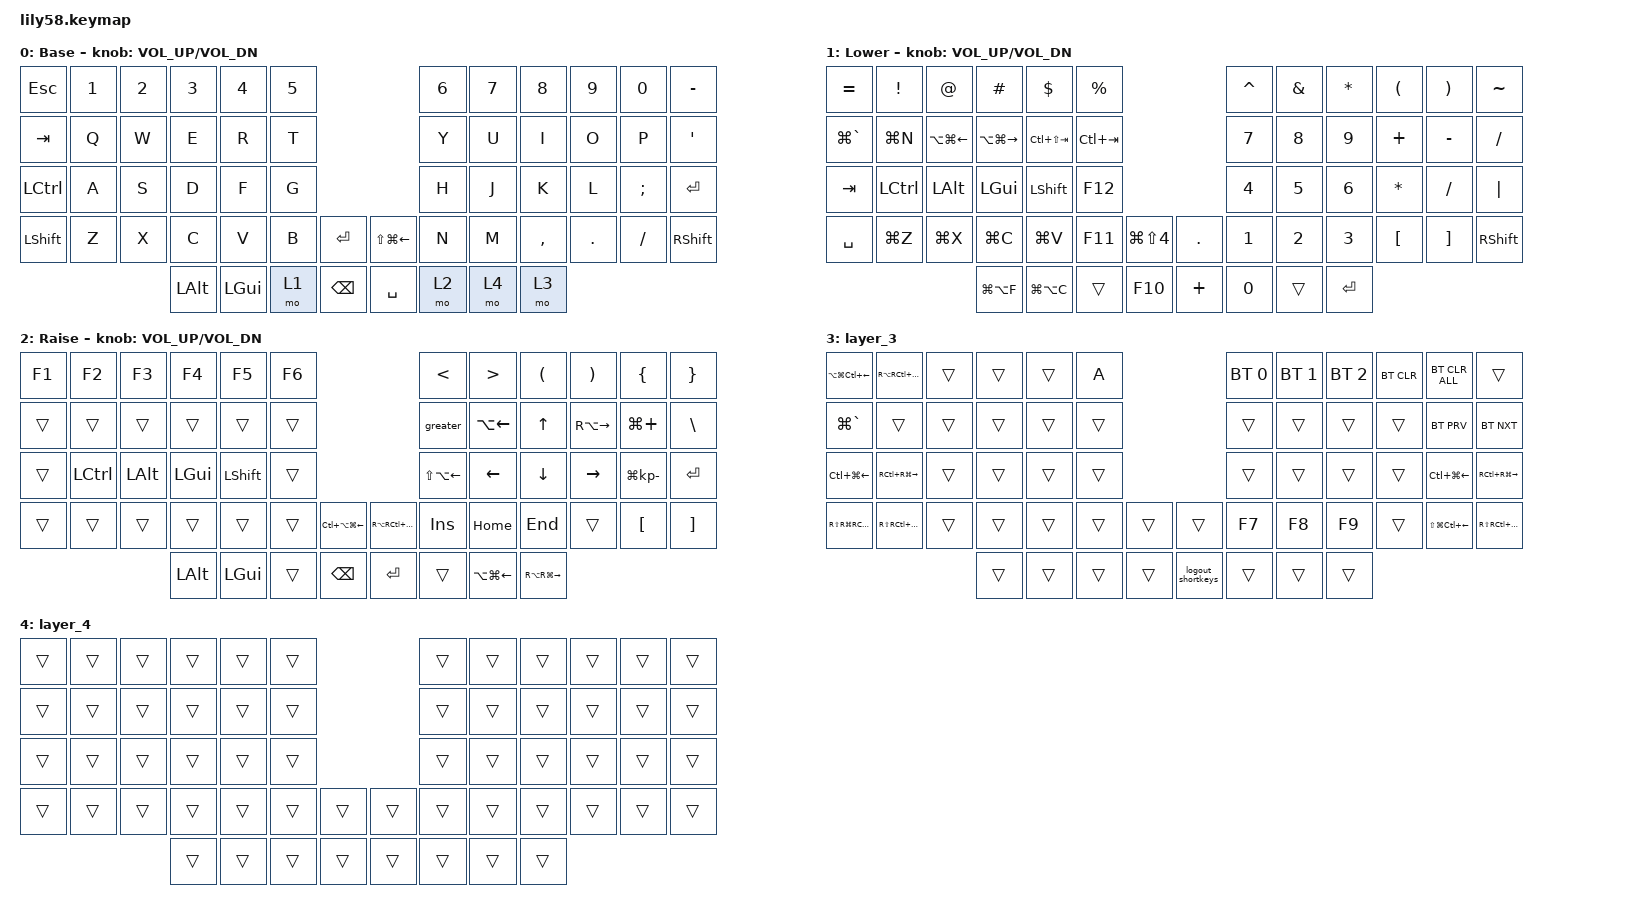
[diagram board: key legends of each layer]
/*
 * Copyright (c) 2020 The ZMK Contributors
 *
 * SPDX-License-Identifier: MIT
 */

#include <behaviors.dtsi>
#include <dt-bindings/zmk/bt.h>
#include <dt-bindings/zmk/keys.h>

/ {
    macros {
        greater: greater {
            compatible = "zmk,behavior-macro";
            #binding-cells = <0>;
            bindings = <&kp KP_EQUAL &kp GREATER_THAN>;
            label = "GREATER";
        };

        lessthan: lessthan {
            compatible = "zmk,behavior-macro";
            #binding-cells = <0>;
            bindings = <&kp LESS_THAN &kp KP_EQUAL>;
            label = "LESSTHAN";
        };

        selectword: selectword {
            compatible = "zmk,behavior-macro";
            #binding-cells = <0>;
            bindings = <&kp LS(LEFT_ARROW)>;
            label = "SELECTWORD";
        };

        email: email {
            compatible = "zmk,behavior-macro";
            #binding-cells = <0>;
            bindings = <&none &kp A &kp L &kp P &kp E &kp R &kp Y &kp A &kp Y &kp L &kp A &kp C &kp I &kp AT &kp G &kp M &kp A &kp I &kp L &kp DOT &kp C &kp O &kp M>;
            label = "EMAIL";
        };

        email2: email2 {
            compatible = "zmk,behavior-macro";
            #binding-cells = <0>;
            bindings = <&none &kp T &kp H &kp E &kp DOT &kp M &kp I &kp K &kp H &kp A &kp I &kp L &kp DOT &kp T &kp A &kp L &kp AT &kp G &kp M &kp A &kp I &kp L &kp DOT &kp C &kp O &kp M>;
            label = "EMAIL2";
        };
    };

    behaviors {
        rightSpaceThumb: rightSpaceThumb {
            compatible = "zmk,behavior-hold-tap";
            label = "RIGHTSPACETHUMB";
            bindings = <&mo>, <&kp>;

            #binding-cells = <2>;
            hold-trigger-key-positions = <54>;
            tapping-term-ms = <200>;
        };

        new_webpages: new_webpages {
            compatible = "zmk,behavior-tap-dance";
            label = "NEW_WEBPAGES";
            #binding-cells = <0>;
            bindings = <&kp T>, <&kp LG(T)>, <&kp LG(LS(N))>;
        };

        logout_shortkeys: logout_shortkeys {
            compatible = "zmk,behavior-tap-dance";
            label = "LOGOUT_SHORTKEYS";
            #binding-cells = <0>;
            bindings = <&kp ESC>, <&kp LG(LC(Q))>;
        };
    };

    combos {
        compatible = "zmk,combos";

        jkjk {
            bindings = <&kp LA(BACKSPACE)>;
            key-positions = <31 32>;
            layers = <0>;
        };

        triple-delete {
            bindings = <&kp LG(BACKSPACE)>;
            key-positions = <31 32 33>;
            layers = <0>;
        };

        webpage-undo {
            bindings = <&kp LS(LG(T))>;
            key-positions = <25 28>;
            layers = <0>;
        };
    };

    keymap {
        compatible = "zmk,keymap";

        default_layer {
            // ------------------------------------------------------------------------------------------------------------
            // |  ESC  |  1  |  2  |  3   |  4   |  5   |                   |  6   |  7    |  8    |  9   |   0   |   `   |
            // |  TAB  |  Q  |  W  |  E   |  R   |  T   |                   |  Y   |  U    |  I    |  O   |   P   |   -   |
            // |  CTRL |  A  |  S  |  D   |  F   |  G   |                   |  H   |  J    |  K    |  L   |   ;   |   '   |
            // | SHIFT |  Z  |  X  |  C   |  V   |  B   |   "["  |  |  "]"  |  N   |  M    |  ,    |  .   |   /   | SHIFT |
            //                     | ALT  | GUI  | LOWER|  SPACE |  | ENTER | RAISE| BSPC  | GUI   |

            display-name = "Base";
            bindings = <
&kp ESCAPE      &kp N1  &kp N2  &kp N3        &kp N4    &kp N5                                     &kp N6  &kp N7  &kp N8     &kp N9   &kp N0    &kp MINUS
&kp TAB         &kp Q   &kp W   &kp E         &kp R     &kp T                                      &kp Y   &kp U   &kp I      &kp O    &kp P     &kp APOSTROPHE
&kp LCTRL       &kp A   &kp S   &kp D         &kp F     &kp G                                      &kp H   &kp J   &kp K      &kp L    &kp SEMI  &kp ENTER
&kp LEFT_SHIFT  &kp Z   &kp X   &kp C         &kp V     &kp B   &kp ENTER        &kp LS(LG(LEFT))  &kp N   &kp M   &kp COMMA  &kp DOT  &kp FSLH  &kp RIGHT_SHIFT
                                &kp LEFT_ALT  &kp LGUI  &mo 1   &kp BACKSPACE    &kp SPACE         &mo 2   &mo 4   &mo 3
            >;

            sensor-bindings = <&inc_dec_kp C_VOL_UP C_VOL_DN>;
        };

        lower_layer {
            // ------------------------------------------------------------------------------------------------------------
            // | BTCLR | BT1 | BT2 |  BT3 |  BT4 |  BT5 |                   |      |       |       |      |       |       |
            // |  F1   |  F2 |  F3 |  F4  |  F5  |  F6  |                   |  F7  |  F8   |  F9   |  F10 |  F11  |  F12  |
            // |   `   |  !  |  @  |  #   |  $   |  %   |                   |  ^   |  &    |  *    |  (   |   )   |   ~   |
            // |       |     |     |      |      |      |        |  |       |      |  _    |  +    |  {   |   }   |  "|"  |
            //                     |      |      |      |        |  |       |      |       |       |

            display-name = "Lower";
            bindings = <
&kp EQUAL      &kp EXCL   &kp AT                  &kp HASH                 &kp DOLLAR       &kp PRCNT                                      &kp CARET     &kp AMPS      &kp STAR      &kp LEFT_PARENTHESIS  &kp RIGHT_PARENTHESIS  &kp TILDE
&kp LG(GRAVE)  &kp LG(N)  &kp LA(LG(LEFT_ARROW))  &kp LA(LG(RIGHT_ARROW))  &kp LC(LS(TAB))  &kp LC(TAB)                                    &kp N7        &kp N8        &kp N9        &kp PLUS              &kp MINUS              &kp SLASH
&kp TAB        &kp LCTRL  &kp LEFT_ALT            &kp LEFT_GUI             &kp LEFT_SHIFT   &kp F12                                        &kp NUMBER_4  &kp N5        &kp NUMBER_6  &kp ASTRK             &kp SLASH              &kp PIPE
&kp SPACE      &kp LG(Z)  &kp LG(X)               &kp LG(C)                &kp LG(V)        &kp F11      &kp LG(LS(NUMBER_4))    &kp DOT   &kp NUMBER_1  &kp NUMBER_2  &kp NUMBER_3  &kp LEFT_BRACKET      &kp RIGHT_BRACKET      &kp RIGHT_SHIFT
                                                  &kp LG(LA(F))            &kp LG(LA(C))    &trans       &kp F10                 &kp PLUS  &kp N0        &trans        &kp ENTER
            >;

            sensor-bindings = <&inc_dec_kp C_VOL_UP C_VOL_DN>;
        };

        raise_layer {
            // ------------------------------------------------------------------------------------------------------------
            // |       |     |     |      |      |      |                   |      |       |       |      |       |       |
            // |   `   |  1  |  2  |  3   |  4   |  5   |                   |  6   |   7   |   8   |  9   |   0   |       |
            // |   F1  |  F2 |  F3 |  F4  |  F5  |  F6  |                   |      |   <-  |   v   |  ^   |  ->   |       |
            // |   F7  |  F8 |  F9 |  F10 |  F11 |  F12 |        |  |       |  +   |   -   |   =   |  [   |   ]   |   \   |
            //                     |      |      |      |        |  |       |      |       |       |

            display-name = "Raise";
            bindings = <
&kp F1  &kp F2            &kp F3        &kp F4        &kp F5          &kp F6                                                 &kp LESS_THAN           &kp GREATER_THAN    &kp LEFT_PARENTHESIS  &kp RIGHT_PARENTHESIS  &kp LEFT_BRACE       &kp RIGHT_BRACE
&trans  &trans            &trans        &trans        &trans          &trans                                                 &greater                &kp LA(LEFT_ARROW)  &kp UP_ARROW          &kp RA(RIGHT_ARROW)    &kp LG(PLUS)         &kp BACKSLASH
&trans  &kp LEFT_CONTROL  &kp LEFT_ALT  &kp LEFT_GUI  &kp LEFT_SHIFT  &trans                                                 &kp LS(LA(LEFT_ARROW))  &kp LEFT            &kp DOWN              &kp RIGHT              &kp LG(KP_SUBTRACT)  &kp ENTER
&trans  &trans            &trans        &trans        &trans          &trans  &kp LC(LA(LG(LEFT)))    &kp RA(RC(RG(RIGHT)))  &kp INSERT              &kp HOME            &kp END               &trans                 &kp LEFT_BRACKET     &kp RIGHT_BRACKET
                                        &kp LEFT_ALT  &kp LEFT_GUI    &trans  &kp BACKSPACE           &kp ENTER              &trans                  &kp LA(LG(LEFT))    &kp RA(RG(RIGHT))
            >;

            sensor-bindings = <&inc_dec_kp C_VOL_UP C_VOL_DN>;
        };

        layer_3 {
            bindings = <
&kp LA(LG(LC(LEFT_ARROW)))  &kp RA(RC(RG(RIGHT)))  &trans  &trans  &trans  &kp A                                &bt BT_SEL 0  &bt BT_SEL 1  &bt BT_SEL 2  &bt BT_CLR  &bt BT_CLR_ALL              &trans
&kp LG(GRAVE)               &trans                 &trans  &trans  &trans  &trans                               &trans        &trans        &trans        &trans      &bt BT_PRV                  &bt BT_NXT
&kp LC(LG(LEFT))            &kp RC(RG(RIGHT))      &trans  &trans  &trans  &trans                               &trans        &trans        &trans        &trans      &kp LC(LG(LEFT_ARROW))      &kp RC(RG(RIGHT_ARROW))
&kp RS(RG(RC(LEFT_ARROW)))  &kp RS(RC(RG(RIGHT)))  &trans  &trans  &trans  &trans  &trans    &trans             &kp F7        &kp F8        &kp F9        &trans      &kp LS(LG(LC(LEFT_ARROW)))  &kp RS(RC(RG(RIGHT_ARROW)))
                                                           &trans  &trans  &trans  &trans    &logout_shortkeys  &trans        &trans        &trans
            >;
        };

        layer_4 {
            bindings = <
&trans  &trans  &trans  &trans  &trans  &trans                    &trans  &trans  &trans  &trans  &trans  &trans
&trans  &trans  &trans  &trans  &trans  &trans                    &trans  &trans  &trans  &trans  &trans  &trans
&trans  &trans  &trans  &trans  &trans  &trans                    &trans  &trans  &trans  &trans  &trans  &trans
&trans  &trans  &trans  &trans  &trans  &trans  &trans    &trans  &trans  &trans  &trans  &trans  &trans  &trans
                        &trans  &trans  &trans  &trans    &trans  &trans  &trans  &trans
            >;
        };
    };
};
